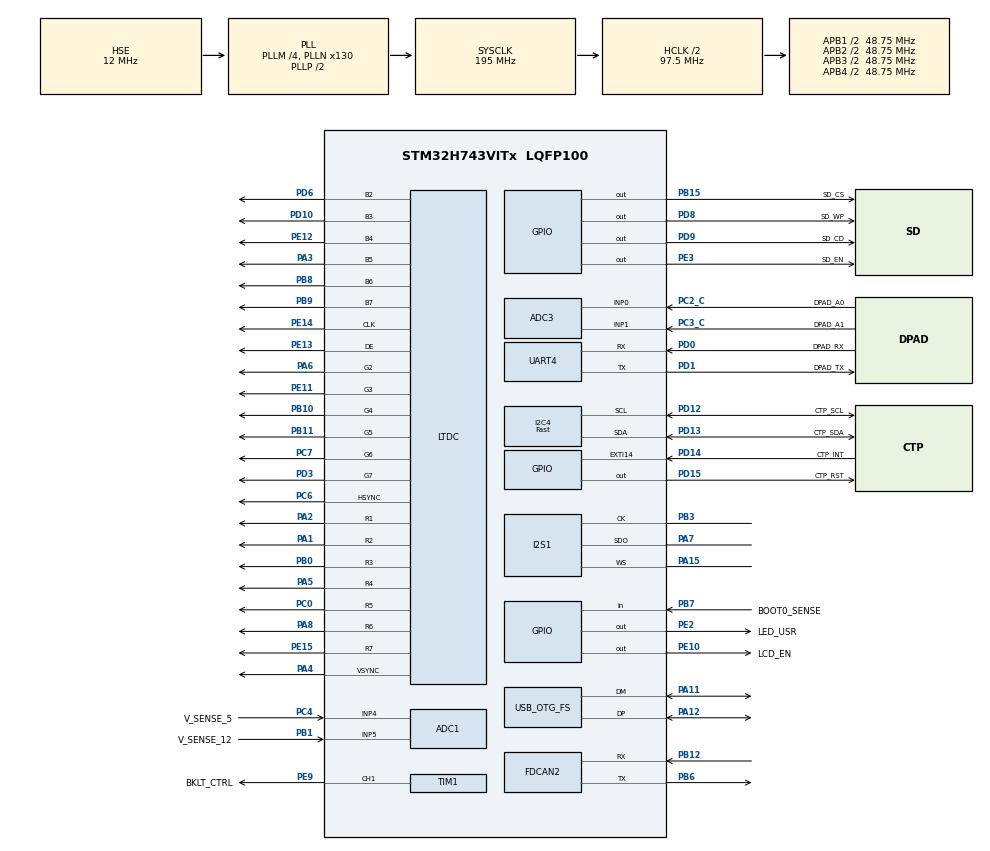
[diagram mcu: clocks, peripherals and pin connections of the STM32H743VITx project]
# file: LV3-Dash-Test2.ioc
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ADC1.Channel-1\#ChannelRegularConversion=ADC_CHANNEL_4
ADC1.NbrOfConversionFlag=1
ADC1.OffsetNumber-1\#ChannelRegularConversion=ADC_OFFSET_NONE
ADC1.OffsetSignedSaturation-1\#ChannelRegularConversion=DISABLE
ADC1.Rank-1\#ChannelRegularConversion=1
ADC1.SamplingTime-1\#ChannelRegularConversion=ADC_SAMPLETIME_1CYCLE_5
ADC1.master=1
ADC3.Channel-0\#ChannelRegularConversion=ADC_CHANNEL_TEMPSENSOR
ADC3.NbrOfConversion=1
ADC3.NbrOfConversionFlag=1
ADC3.OffsetNumber-0\#ChannelRegularConversion=ADC_OFFSET_NONE
ADC3.OffsetSignedSaturation-0\#ChannelRegularConversion=DISABLE
ADC3.Rank-0\#ChannelRegularConversion=1
ADC3.SamplingTime-0\#ChannelRegularConversion=ADC_SAMPLETIME_32CYCLES_5
CORTEX_M7.CPU_DCache=Enabled
CORTEX_M7.CPU_ICache=Enabled
CORTEX_M7.Enable_Spec=__NULL
CORTEX_M7.MPU_Control=__NULL
CORTEX_M7.default_mode_Activation=1
DMA2D.ColorMode=DMA2D_OUTPUT_RGB565
FDCAN2.CalculateBaudRateNominal=250000
FDCAN2.CalculateTimeBitNominal=4000
FDCAN2.CalculateTimeQuantumNominal=250.0
FDCAN2.NominalPrescaler=10
FDCAN2.NominalTimeSeg1=13
FDCAN2.NominalTimeSeg2=2
FDCAN2.RxBuffersNbr=8
FDCAN2.RxFifo0ElmtsNbr=8
FDCAN2.RxFifo1ElmtsNbr=8
FDCAN2.TxBuffersNbr=16
FDCAN2.TxEventsNbr=8
FDCAN2.TxFifoQueueElmtsNbr=16
I2C4.I2C_Speed_Mode=I2C_Fast
I2C4.Speed=300
I2C4.Timing=0x00403A5E
I2S1.ErrorAudioFreq=0.17 %
I2S1.Instance=SPI$Index
I2S1.RealAudioFreq=8.014 KHz
LTDC.ActiveH=272
LTDC.ActiveW=480
LTDC.Alpha0_L0=255
LTDC.Alpha_L0=255
LTDC.Blue_L0=255
LTDC.HBP=40
LTDC.HFP=5
LTDC.ImageHeight_L0=272
LTDC.ImageWidth_L0=480
LTDC.Layers=0
LTDC.PixelFormat_L0=LTDC_PIXEL_FORMAT_RGB565
LTDC.VBP=8
LTDC.VFP=8
LTDC.WindowX1_L0=480
LTDC.WindowY0_L0=0
LTDC.WindowY1_L0=272
Mcu.Family=STM32H7
Mcu.Name=STM32H743VITx
Mcu.Package=LQFP100
NVIC.FDCAN2_IT0_IRQn=true\:0\:0\:false\:false\:true\:true\:true\:true
NVIC.FDCAN2_IT1_IRQn=true\:0\:0\:false\:false\:true\:true\:true\:true
NVIC.FDCAN_CAL_IRQn=true\:0\:0\:false\:false\:true\:true\:true\:true
NVIC.LTDC_ER_IRQn=true\:0\:0\:false\:false\:true\:true\:true\:true
NVIC.LTDC_IRQn=true\:0\:0\:false\:false\:true\:true\:true\:true
NVIC.PriorityGroup=NVIC_PRIORITYGROUP_4
PA1.Mode=RGB666
PA1.Signal=LTDC_R2
PA11.Mode=Host_Only
PA11.Signal=USB_OTG_FS_DM
PA12.Mode=Host_Only
PA12.Signal=USB_OTG_FS_DP
PA13\ (JTMS/SWDIO).Mode=Serial_Wire
PA13\ (JTMS/SWDIO).Signal=DEBUG_JTMS-SWDIO
PA14\ (JTCK/SWCLK).Mode=Serial_Wire
PA14\ (JTCK/SWCLK).Signal=DEBUG_JTCK-SWCLK
PA15\ (JTDI).Mode=Half_Duplex_Master_Tx
PA15\ (JTDI).Signal=I2S1_WS
PA2.Mode=RGB666
PA2.Signal=LTDC_R1
PA3.Mode=RGB666
PA3.Signal=LTDC_B5
PA4.Mode=RGB666
PA4.Signal=LTDC_VSYNC
PA5.Mode=RGB666
PA5.Signal=LTDC_R4
PA6.Mode=RGB666
PA6.Signal=LTDC_G2
PA7.Mode=Half_Duplex_Master_Tx
PA7.Signal=I2S1_SDO
PA8.Mode=RGB666
PA8.Signal=LTDC_R6
PB0.Mode=RGB666
PB0.Signal=LTDC_R3
PB1.GPIO_Label=V_SENSE_12
PB1.Signal=ADCx_INP5
PB10.Mode=RGB666
PB10.Signal=LTDC_G4
PB11.Mode=RGB666
PB11.Signal=LTDC_G5
PB12.Mode=FDCAN_Activate
PB12.Signal=FDCAN2_RX
PB15.GPIO_Label=SD_CS
PB15.Signal=GPIO_Output
PB3\ (JTDO/TRACESWO).Mode=Half_Duplex_Master_Tx
PB3\ (JTDO/TRACESWO).Signal=I2S1_CK
PB6.Mode=FDCAN_Activate
PB6.Signal=FDCAN2_TX
PB7.GPIO_Label=BOOT0_SENSE
PB7.Signal=GPIO_Input
PB8.Mode=RGB666
PB8.Signal=LTDC_B6
PB9.Mode=RGB666
PB9.Signal=LTDC_B7
PC0.Mode=RGB666
PC0.Signal=LTDC_R5
PC2_C.GPIO_Label=DPAD_A0
PC2_C.Mode=IN0-Single-Ended
PC2_C.Signal=ADC3_INP0
PC3_C.GPIO_Label=DPAD_A1
PC3_C.Mode=IN1-Single-Ended
PC3_C.Signal=ADC3_INP1
PC4.GPIO_Label=V_SENSE_5
PC4.Signal=ADCx_INP4
PC6.Mode=RGB666
PC6.Signal=LTDC_HSYNC
PC7.Mode=RGB666
PC7.Signal=LTDC_G6
PD0.GPIO_Label=DPAD_RX
PD0.Mode=Asynchronous
PD0.Signal=UART4_RX
PD1.GPIO_Label=DPAD_TX
PD1.Mode=Asynchronous
PD1.Signal=UART4_TX
PD10.Mode=RGB666
PD10.Signal=LTDC_B3
PD12.GPIO_Label=CTP_SCL
PD12.GPIO_Speed=GPIO_SPEED_FREQ_HIGH
PD12.Mode=I2C
PD12.Signal=I2C4_SCL
PD13.GPIO_Label=CTP_SDA
PD13.GPIO_Speed=GPIO_SPEED_FREQ_HIGH
PD13.Mode=I2C
PD13.Signal=I2C4_SDA
PD14.GPIO_Label=CTP_INT
PD14.GPIO_ModeDefaultEXTI=GPIO_MODE_IT_RISING_FALLING
PD14.Signal=GPXTI14
PD15.GPIO_Label=CTP_RST
PD15.Signal=GPIO_Output
PD3.Mode=RGB666
PD3.Signal=LTDC_G7
PD6.Mode=RGB666
PD6.Signal=LTDC_B2
PD8.GPIO_Label=SD_WP
PD8.Signal=GPIO_Output
PD9.GPIO_Label=SD_CD
PD9.Signal=GPIO_Output
PE10.GPIO_Label=LCD_EN
PE10.PinAttribute=Free
PE10.Signal=GPIO_Output
PE11.Mode=RGB666
PE11.PinAttribute=Free
PE11.Signal=LTDC_G3
PE12.Mode=RGB666
PE12.Signal=LTDC_B4
PE13.Mode=RGB666
PE13.Signal=LTDC_DE
PE14.Mode=RGB666
PE14.Signal=LTDC_CLK
PE15.Mode=RGB666
PE15.Signal=LTDC_R7
PE2.GPIO_Label=LED_USR
PE2.Signal=GPIO_Output
PE3.GPIO_Label=SD_EN
PE3.Signal=GPIO_Output
PE9.GPIO_Label=BKLT_CTRL
PE9.Signal=S_TIM1_CH1
PH0-OSC_IN\ (PH0).Mode=HSE-External-Oscillator
PH0-OSC_IN\ (PH0).Signal=RCC_OSC_IN
PH1-OSC_OUT\ (PH1).Mode=HSE-External-Oscillator
PH1-OSC_OUT\ (PH1).Signal=RCC_OSC_OUT
ProjectManager.HeapSize=0x200
ProjectManager.StackSize=0x400
ProjectManager.TargetToolchain=CMake
RCC.ADCFreq_Value=40000000
RCC.APB1Freq_Value=48750000
RCC.APB2Freq_Value=48750000
RCC.APB3Freq_Value=48750000
RCC.APB4Freq_Value=48750000
RCC.CortexFreq_Value=195000000
RCC.D1PPRE=RCC_APB3_DIV2
RCC.D2PPRE1=RCC_APB1_DIV2
RCC.D2PPRE2=RCC_APB2_DIV2
RCC.D3PPRE=RCC_APB4_DIV2
RCC.DIVM1=4
RCC.DIVM2=6
RCC.DIVM3=8
RCC.DIVN1=130
RCC.DIVN2=80
RCC.DIVN3=192
RCC.DIVP2=4
RCC.DIVQ2=4
RCC.DIVR3=24
RCC.FDCANCLockSelection=RCC_FDCANCLKSOURCE_PLL2
RCC.HCLKFreq_Value=97500000
RCC.HPRE=RCC_HCLK_DIV2
RCC.HSE_VALUE=12000000
RCC.IWDGEnable-ClockTree=true
RCC.LPTIM2Enable-ClockTree=true
RCC.MCO2OutPutEnable-ClockTree=true
RCC.PLL1_VCI_Range-AdvancedSettings=RCC_PLL1VCIRANGE_0
RCC.PLLSourceVirtual=RCC_PLLSOURCE_HSE
RCC.SDMMC1CLockSelection=RCC_SDMMCCLKSOURCE_PLL2
RCC.SDMMC1Enable-ClockTree=true
RCC.SPI123CLockSelection=RCC_SPI123CLKSOURCE_PLL2
RCC.SYSCLKFreq_VALUE=195000000
RCC.SYSCLKSource=RCC_SYSCLKSOURCE_PLLCLK
RCC.USBCLockSelection=RCC_USBCLKSOURCE_HSI48
RCC.USBFreq_Value=48000000
SH.ADCx_INP4.0=ADC1_INP4,IN4-Single-Ended
SH.ADCx_INP5.0=ADC1_INP5,IN5-Single-Ended
SH.S_TIM1_CH1.0=TIM1_CH1,PWM Generation1 CH1
TIM1.Channel-PWM\ Generation1\ CH1=TIM_CHANNEL_1
TIM1.Period=100
TIM1.Prescaler=10000
USB_OTG_FS.VirtualMode=Host_Only
USB_OTG_FS.phy_itface=HCD_PHY_EMBEDDED
VP_ADC3_TempSens_Input.Mode=IN-TempSens
VP_DMA2D_VS_DMA2D.Mode=DMA2D_Activate
VP_MEMORYMAP_VS_MEMORYMAP.Mode=CurAppReg
board=custom

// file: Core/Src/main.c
/* USER CODE BEGIN Header */
/**
 ******************************************************************************
 * @file           : main.c
 * @brief          : Main program body
 ******************************************************************************
 * @attention
 *
 * Copyright (c) 2026 STMicroelectronics.
 * All rights reserved.
 *
 * This software is licensed under terms that can be found in the LICENSE file
 * in the root directory of this software component.
 * If no LICENSE file comes with this software, it is provided AS-IS.
 *
 ******************************************************************************
 */
/* USER CODE END Header */
#include "main.h"

/* USER CODE BEGIN Includes */

#include "FT5206.h"
#include "LV3_CAN.h"
#include "actions.h"
#include "demos/music/lv_demo_music.h"
#include "demos/widgets/lv_demo_widgets.h"
#include "lv_demos.h"
#include "lvgl.h"
#include "screens.h"
#include "stm32h7xx_hal.h"
#include "stm32h7xx_hal_gpio.h"
#include "stm32h7xx_hal_ltdc.h"
#include "ui.h"
#include <src/display/lv_display.h>
#include <src/drivers/display/st_ltdc/lv_st_ltdc.h>
#include <src/lv_api_map_v8.h>
#include <src/widgets/led/lv_led.h>
#include <src/widgets/list/lv_list.h>
#include <src/widgets/slider/lv_slider.h>
#include <stdint.h>
#include <stdio.h>
#include <string.h>
#include <sys/_types.h>

/* USER CODE END Includes */

/* USER CODE BEGIN PD */

#define SCREEN_FADE_ON_TIME 500

/* USER CODE END PD */

ADC_HandleTypeDef hadc1;
ADC_HandleTypeDef hadc3;

DMA2D_HandleTypeDef hdma2d;

FDCAN_HandleTypeDef hfdcan2;

I2C_HandleTypeDef hi2c4;

I2S_HandleTypeDef hi2s1;

LTDC_HandleTypeDef hltdc;

TIM_HandleTypeDef htim1;

UART_HandleTypeDef huart4;

HCD_HandleTypeDef hhcd_USB_OTG_FS;

/* USER CODE BEGIN PV */

#define DISP_WIDTH 480
#define DISP_HEIGHT 272
#define FRAME_SIZE                                                             \
  (DISP_WIDTH * DISP_HEIGHT * 2) // 2 bytes per pixel for RGB565
uint8_t ltdc_framebuffer[FRAME_SIZE] __attribute__((section(".ram_d1")));
// uint8_t ltdc_framebuffer2[FRAME_SIZE] __attribute__((section(".ram_d1")))
// __attribute__((aligned(32)));

uint8_t lvgl_draw_buffer_1[FRAME_SIZE / 2] __attribute__((section(".ram_d1")));
uint8_t lvgl_draw_buffer_2[FRAME_SIZE / 2] __attribute__((section(".ram_d1")));

unsigned int main_loop_start_timestamp = 0;

/* USER CODE END PV */

void SystemClock_Config(void);
void PeriphCommonClock_Config(void);
static void MX_GPIO_Init(void);
static void MX_I2S1_Init(void);
static void MX_LTDC_Init(void);
static void MX_USB_OTG_FS_HCD_Init(void);
static void MX_ADC3_Init(void);
static void MX_ADC1_Init(void);
static void MX_I2C4_Init(void);
static void MX_TIM1_Init(void);
static void MX_UART4_Init(void);
static void MX_FDCAN2_Init(void);
static void MX_DMA2D_Init(void);

/* USER CODE BEGIN 0 */

void action_action1(lv_event_t *e) {
  // Switch to screen "Other" with animation
  lv_scr_load_anim(objects.other, LV_SCREEN_LOAD_ANIM_OVER_LEFT, 150, 0, false);
  lv_anim_t *a = lv_anim_get(objects.other, NULL);
  if (a) {
    lv_anim_set_path_cb(a, lv_anim_path_ease_out);
  }
}

void action_action2(lv_event_t *e) {
  // Switch to screen "Main" with animation
  lv_scr_load_anim(objects.main, LV_SCREEN_LOAD_ANIM_OUT_RIGHT, 150, 0, false);
  lv_anim_t *a = lv_anim_get(objects.main, NULL);
  if (a) {
    lv_anim_set_path_cb(a, lv_anim_path_ease_out);
  }
}

static void anim_delete_cb(lv_anim_t *a) { lv_obj_delete(a->var); }

void show_top_notification(const char *text) {
  lv_obj_t *notif = lv_obj_create(lv_layer_top());
  lv_obj_add_flag(notif, LV_OBJ_FLAG_FLOATING);

  lv_obj_set_size(notif, lv_pct(100), 50);
  lv_obj_set_y(notif, -60);
  lv_obj_set_style_bg_color(notif, lv_color_hex(0x222222), 0);
  lv_obj_set_style_text_color(notif, lv_color_white(), 0);
  lv_obj_set_style_radius(notif, 0, 0);
  lv_obj_set_style_border_side(notif, LV_BORDER_SIDE_BOTTOM, 0);
  lv_obj_set_style_border_width(notif, 2, 0);
  lv_obj_set_style_border_color(notif, lv_color_hex(0x888888), 0);
  lv_obj_set_style_pad_all(notif, 0, 0);
  lv_obj_set_scrollbar_mode(notif, LV_SCROLLBAR_MODE_OFF);

  lv_obj_t *label = lv_label_create(notif);
  lv_label_set_text(label, text);
  lv_obj_center(label);

  lv_anim_t a;

  lv_anim_init(&a);
  lv_anim_set_var(&a, notif);
  lv_anim_set_exec_cb(&a, (lv_anim_exec_xcb_t)lv_obj_set_y);
  lv_anim_set_path_cb(&a, lv_anim_path_ease_out);
  lv_anim_set_duration(&a, 500);
  lv_anim_set_values(&a, -60, 0);
  lv_anim_start(&a);

  lv_anim_set_path_cb(&a, lv_anim_path_ease_in);
  lv_anim_set_delay(&a, 3500);
  lv_anim_set_values(&a, 0, -60);
  lv_anim_set_deleted_cb(&a, anim_delete_cb);
  lv_anim_start(&a);
}

void action_prompt_action(lv_event_t *e) {
  // Show a prompt message box
  char buf[64];
  sprintf(buf, "Current time: %d ms", HAL_GetTick());
  show_top_notification(buf);
}

uint32_t main_switch = 0;

const LV3_CAN_Binding lv3_can_bindings[] = {
    {&main_switch, SW_HV_MAIN, LV3_CAN_BindMode_Read}};

/* USER CODE END 0 */

int main(void) {

  /* Enable the CPU Cache */

  /* Enable I-Cache---------------------------------------------------------*/
  SCB_EnableICache();

  /* Enable D-Cache---------------------------------------------------------*/
  SCB_EnableDCache();

  /* MCU Configuration--------------------------------------------------------*/

  /* Reset of all peripherals, Initializes the Flash interface and the Systick.
   */
  HAL_Init();

  /* Configure the system clock */
  SystemClock_Config();

  /* Configure the peripherals common clocks */
  PeriphCommonClock_Config();

  /* Initialize all configured peripherals */
  MX_GPIO_Init();
  MX_I2S1_Init();
  MX_LTDC_Init();
  MX_USB_OTG_FS_HCD_Init();
  MX_ADC3_Init();
  MX_ADC1_Init();
  MX_I2C4_Init();
  MX_TIM1_Init();
  MX_UART4_Init();
  MX_FDCAN2_Init();
  MX_DMA2D_Init();
  /* USER CODE BEGIN 2 */

  // clear framebuffer
  memset(ltdc_framebuffer, 0, FRAME_SIZE);

  // Set the LTDC framebuffer address
  HAL_LTDC_SetAddress(&hltdc, (uint32_t)ltdc_framebuffer, 0);

  // Set backlight timer duty cycle to 25%
  // __HAL_TIM_SET_COMPARE(&htim1, TIM_CHANNEL_1, 25);
  // Enable backlight control timer
  HAL_TIM_PWM_Start(&htim1, TIM_CHANNEL_1);

  lv_init();
  lv_tick_set_cb(HAL_GetTick);

  lv_disp_t *disp = lv_st_ltdc_create_partial(
      lvgl_draw_buffer_1, lvgl_draw_buffer_2, FRAME_SIZE / 2, 0);

  // lv_disp_t *disp =
  //     lv_st_ltdc_create_direct(ltdc_framebuffer, ltdc_framebuffer2, 0);

  lv_disp_set_rotation(disp, LV_DISP_ROTATION_180);

  FT5206_Init();
  lv_indev_t *indev_touch = lv_indev_create();
  lv_indev_set_type(indev_touch, LV_INDEV_TYPE_POINTER);
  lv_indev_set_read_cb(indev_touch, FT5206_Read);

  // lv_demo_widgets();
  ui_init();

  int last_slider_val = 0;

  lv_obj_t *some_label = lv_list_add_text(objects.params_list, "hello");
  lv_obj_t *some_slider =
      lv_list_add_button(objects.params_list, NULL, "something");

  LV3_CAN_Init(98, LV3_CAN_BusMode_Normal, lv3_can_bindings,
               sizeof(lv3_can_bindings) / sizeof(LV3_CAN_Binding));

  main_loop_start_timestamp = HAL_GetTick();
  uint32_t backlight_duty_cycle = 0;

  /* USER CODE END 2 */

  /* Infinite loop */
  while (1) {

    /* USER CODE BEGIN 3 */
    int slider_val = lv_slider_get_value(objects.brightness_slider);
    if (slider_val != last_slider_val) {
      last_slider_val = slider_val;
      // gamma correction for perceived brightness
      float normalized_val = slider_val / 100.0f;
      float gamma_corrected_val = normalized_val * normalized_val;
      backlight_duty_cycle = (uint32_t)(gamma_corrected_val * 100);
    }
    if (HAL_GetTick() - main_loop_start_timestamp < SCREEN_FADE_ON_TIME) {
      __HAL_TIM_SET_COMPARE(&htim1, TIM_CHANNEL_1,
                            backlight_duty_cycle *
                                (HAL_GetTick() - main_loop_start_timestamp) /
                                SCREEN_FADE_ON_TIME);
    } else {
      __HAL_TIM_SET_COMPARE(&htim1, TIM_CHANNEL_1, backlight_duty_cycle);
    }
    lv_led_set_brightness(objects.main_switch_led_element,
                          main_switch ? 255 : 0);
    HAL_GPIO_WritePin(LED_USR_GPIO_Port, LED_USR_Pin,
                      main_switch ? GPIO_PIN_SET : GPIO_PIN_RESET);
    lv_timer_handler();
    LV3_CAN_Loop();
    // HAL_Delay(2);
  }
  /* USER CODE END 3 */
}

void SystemClock_Config(void) {
  RCC_OscInitTypeDef RCC_OscInitStruct = {0};
  RCC_ClkInitTypeDef RCC_ClkInitStruct = {0};

  /** Supply configuration update enable
   */
  HAL_PWREx_ConfigSupply(PWR_LDO_SUPPLY);

  /** Configure the main internal regulator output voltage
   */
  __HAL_PWR_VOLTAGESCALING_CONFIG(PWR_REGULATOR_VOLTAGE_SCALE3);

  while (!__HAL_PWR_GET_FLAG(PWR_FLAG_VOSRDY)) {
  }

  /** Initializes the RCC Oscillators according to the specified parameters
   * in the RCC_OscInitTypeDef structure.
   */
  RCC_OscInitStruct.OscillatorType =
      RCC_OSCILLATORTYPE_HSI48 | RCC_OSCILLATORTYPE_HSE;
  RCC_OscInitStruct.HSEState = RCC_HSE_ON;
  RCC_OscInitStruct.HSI48State = RCC_HSI48_ON;
  RCC_OscInitStruct.PLL.PLLState = RCC_PLL_ON;
  RCC_OscInitStruct.PLL.PLLSource = RCC_PLLSOURCE_HSE;
  RCC_OscInitStruct.PLL.PLLM = 4;
  RCC_OscInitStruct.PLL.PLLN = 130;
  RCC_OscInitStruct.PLL.PLLP = 2;
  RCC_OscInitStruct.PLL.PLLQ = 2;
  RCC_OscInitStruct.PLL.PLLR = 2;
  RCC_OscInitStruct.PLL.PLLRGE = RCC_PLL1VCIRANGE_1;
  RCC_OscInitStruct.PLL.PLLVCOSEL = RCC_PLL1VCOWIDE;
  RCC_OscInitStruct.PLL.PLLFRACN = 0;
  if (HAL_RCC_OscConfig(&RCC_OscInitStruct) != HAL_OK) {
    Error_Handler();
  }

  /** Initializes the CPU, AHB and APB buses clocks
   */
  RCC_ClkInitStruct.ClockType = RCC_CLOCKTYPE_HCLK | RCC_CLOCKTYPE_SYSCLK |
                                RCC_CLOCKTYPE_PCLK1 | RCC_CLOCKTYPE_PCLK2 |
                                RCC_CLOCKTYPE_D3PCLK1 | RCC_CLOCKTYPE_D1PCLK1;
  RCC_ClkInitStruct.SYSCLKSource = RCC_SYSCLKSOURCE_PLLCLK;
  RCC_ClkInitStruct.SYSCLKDivider = RCC_SYSCLK_DIV1;
  RCC_ClkInitStruct.AHBCLKDivider = RCC_HCLK_DIV2;
  RCC_ClkInitStruct.APB3CLKDivider = RCC_APB3_DIV2;
  RCC_ClkInitStruct.APB1CLKDivider = RCC_APB1_DIV2;
  RCC_ClkInitStruct.APB2CLKDivider = RCC_APB2_DIV2;
  RCC_ClkInitStruct.APB4CLKDivider = RCC_APB4_DIV2;

  if (HAL_RCC_ClockConfig(&RCC_ClkInitStruct, FLASH_LATENCY_2) != HAL_OK) {
    Error_Handler();
  }
}

void PeriphCommonClock_Config(void) {
  RCC_PeriphCLKInitTypeDef PeriphClkInitStruct = {0};

  /** Initializes the peripherals clock
   */
  PeriphClkInitStruct.PeriphClockSelection =
      RCC_PERIPHCLK_ADC | RCC_PERIPHCLK_SPI1 | RCC_PERIPHCLK_FDCAN;
  PeriphClkInitStruct.PLL2.PLL2M = 6;
  PeriphClkInitStruct.PLL2.PLL2N = 80;
  PeriphClkInitStruct.PLL2.PLL2P = 4;
  PeriphClkInitStruct.PLL2.PLL2Q = 4;
  PeriphClkInitStruct.PLL2.PLL2R = 2;
  PeriphClkInitStruct.PLL2.PLL2RGE = RCC_PLL2VCIRANGE_1;
  PeriphClkInitStruct.PLL2.PLL2VCOSEL = RCC_PLL2VCOMEDIUM;
  PeriphClkInitStruct.PLL2.PLL2FRACN = 0;
  PeriphClkInitStruct.Spi123ClockSelection = RCC_SPI123CLKSOURCE_PLL2;
  PeriphClkInitStruct.FdcanClockSelection = RCC_FDCANCLKSOURCE_PLL2;
  PeriphClkInitStruct.AdcClockSelection = RCC_ADCCLKSOURCE_PLL2;
  if (HAL_RCCEx_PeriphCLKConfig(&PeriphClkInitStruct) != HAL_OK) {
    Error_Handler();
  }
}

static void MX_ADC1_Init(void) {

  ADC_MultiModeTypeDef multimode = {0};
  ADC_ChannelConfTypeDef sConfig = {0};

  /** Common config
   */
  hadc1.Instance = ADC1;
  hadc1.Init.ClockPrescaler = ADC_CLOCK_ASYNC_DIV2;
  hadc1.Init.Resolution = ADC_RESOLUTION_16B;
  hadc1.Init.ScanConvMode = ADC_SCAN_DISABLE;
  hadc1.Init.EOCSelection = ADC_EOC_SINGLE_CONV;
  hadc1.Init.LowPowerAutoWait = DISABLE;
  hadc1.Init.ContinuousConvMode = DISABLE;
  hadc1.Init.NbrOfConversion = 1;
  hadc1.Init.DiscontinuousConvMode = DISABLE;
  hadc1.Init.ExternalTrigConv = ADC_SOFTWARE_START;
  hadc1.Init.ExternalTrigConvEdge = ADC_EXTERNALTRIGCONVEDGE_NONE;
  hadc1.Init.ConversionDataManagement = ADC_CONVERSIONDATA_DR;
  hadc1.Init.Overrun = ADC_OVR_DATA_PRESERVED;
  hadc1.Init.LeftBitShift = ADC_LEFTBITSHIFT_NONE;
  hadc1.Init.OversamplingMode = DISABLE;
  hadc1.Init.Oversampling.Ratio = 1;
  if (HAL_ADC_Init(&hadc1) != HAL_OK) {
    Error_Handler();
  }

  /** Configure the ADC multi-mode
   */
  multimode.Mode = ADC_MODE_INDEPENDENT;
  if (HAL_ADCEx_MultiModeConfigChannel(&hadc1, &multimode) != HAL_OK) {
    Error_Handler();
  }

  /** Configure Regular Channel
   */
  sConfig.Channel = ADC_CHANNEL_4;
  sConfig.Rank = ADC_REGULAR_RANK_1;
  sConfig.SamplingTime = ADC_SAMPLETIME_1CYCLE_5;
  sConfig.SingleDiff = ADC_SINGLE_ENDED;
  sConfig.OffsetNumber = ADC_OFFSET_NONE;
  sConfig.Offset = 0;
  sConfig.OffsetSignedSaturation = DISABLE;
  if (HAL_ADC_ConfigChannel(&hadc1, &sConfig) != HAL_OK) {
    Error_Handler();
  }
}

static void MX_ADC3_Init(void) {

  ADC_ChannelConfTypeDef sConfig = {0};

  /** Common config
   */
  hadc3.Instance = ADC3;
  hadc3.Init.Resolution = ADC_RESOLUTION_16B;
  hadc3.Init.ScanConvMode = ADC_SCAN_DISABLE;
  hadc3.Init.EOCSelection = ADC_EOC_SINGLE_CONV;
  hadc3.Init.LowPowerAutoWait = DISABLE;
  hadc3.Init.ContinuousConvMode = DISABLE;
  hadc3.Init.NbrOfConversion = 1;
  hadc3.Init.DiscontinuousConvMode = DISABLE;
  hadc3.Init.ExternalTrigConv = ADC_SOFTWARE_START;
  hadc3.Init.ExternalTrigConvEdge = ADC_EXTERNALTRIGCONVEDGE_NONE;
  hadc3.Init.ConversionDataManagement = ADC_CONVERSIONDATA_DR;
  hadc3.Init.Overrun = ADC_OVR_DATA_PRESERVED;
  hadc3.Init.LeftBitShift = ADC_LEFTBITSHIFT_NONE;
  hadc3.Init.OversamplingMode = DISABLE;
  hadc3.Init.Oversampling.Ratio = 1;
  if (HAL_ADC_Init(&hadc3) != HAL_OK) {
    Error_Handler();
  }

  /** Configure Regular Channel
   */
  sConfig.Channel = ADC_CHANNEL_TEMPSENSOR;
  sConfig.Rank = ADC_REGULAR_RANK_1;
  sConfig.SamplingTime = ADC_SAMPLETIME_32CYCLES_5;
  sConfig.SingleDiff = ADC_SINGLE_ENDED;
  sConfig.OffsetNumber = ADC_OFFSET_NONE;
  sConfig.Offset = 0;
  sConfig.OffsetSignedSaturation = DISABLE;
  if (HAL_ADC_ConfigChannel(&hadc3, &sConfig) != HAL_OK) {
    Error_Handler();
  }
}

static void MX_DMA2D_Init(void) {

  hdma2d.Instance = DMA2D;
  hdma2d.Init.Mode = DMA2D_M2M;
  hdma2d.Init.ColorMode = DMA2D_OUTPUT_RGB565;
  hdma2d.Init.OutputOffset = 0;
  hdma2d.LayerCfg[1].InputOffset = 0;
  hdma2d.LayerCfg[1].InputColorMode = DMA2D_INPUT_RGB565;
  hdma2d.LayerCfg[1].AlphaMode = DMA2D_NO_MODIF_ALPHA;
  hdma2d.LayerCfg[1].InputAlpha = 0;
  hdma2d.LayerCfg[1].AlphaInverted = DMA2D_REGULAR_ALPHA;
  hdma2d.LayerCfg[1].RedBlueSwap = DMA2D_RB_REGULAR;
  hdma2d.LayerCfg[1].ChromaSubSampling = DMA2D_NO_CSS;
  if (HAL_DMA2D_Init(&hdma2d) != HAL_OK) {
    Error_Handler();
  }
  if (HAL_DMA2D_ConfigLayer(&hdma2d, 1) != HAL_OK) {
    Error_Handler();
  }
}

static void MX_FDCAN2_Init(void) {

  hfdcan2.Instance = FDCAN2;
  hfdcan2.Init.FrameFormat = FDCAN_FRAME_CLASSIC;
  hfdcan2.Init.Mode = FDCAN_MODE_NORMAL;
  hfdcan2.Init.AutoRetransmission = DISABLE;
  hfdcan2.Init.TransmitPause = DISABLE;
  hfdcan2.Init.ProtocolException = DISABLE;
  hfdcan2.Init.NominalPrescaler = 10;
  hfdcan2.Init.NominalSyncJumpWidth = 1;
  hfdcan2.Init.NominalTimeSeg1 = 13;
  hfdcan2.Init.NominalTimeSeg2 = 2;
  hfdcan2.Init.DataPrescaler = 1;
  hfdcan2.Init.DataSyncJumpWidth = 1;
  hfdcan2.Init.DataTimeSeg1 = 1;
  hfdcan2.Init.DataTimeSeg2 = 1;
  hfdcan2.Init.MessageRAMOffset = 0;
  hfdcan2.Init.StdFiltersNbr = 0;
  hfdcan2.Init.ExtFiltersNbr = 0;
  hfdcan2.Init.RxFifo0ElmtsNbr = 8;
  hfdcan2.Init.RxFifo0ElmtSize = FDCAN_DATA_BYTES_8;
  hfdcan2.Init.RxFifo1ElmtsNbr = 8;
  hfdcan2.Init.RxFifo1ElmtSize = FDCAN_DATA_BYTES_8;
  hfdcan2.Init.RxBuffersNbr = 8;
  hfdcan2.Init.RxBufferSize = FDCAN_DATA_BYTES_8;
  hfdcan2.Init.TxEventsNbr = 8;
  hfdcan2.Init.TxBuffersNbr = 16;
  hfdcan2.Init.TxFifoQueueElmtsNbr = 16;
  hfdcan2.Init.TxFifoQueueMode = FDCAN_TX_FIFO_OPERATION;
  hfdcan2.Init.TxElmtSize = FDCAN_DATA_BYTES_8;
  if (HAL_FDCAN_Init(&hfdcan2) != HAL_OK) {
    Error_Handler();
  }
}

static void MX_I2C4_Init(void) {

  hi2c4.Instance = I2C4;
  hi2c4.Init.Timing = 0x00403A5E;
  hi2c4.Init.OwnAddress1 = 0;
  hi2c4.Init.AddressingMode = I2C_ADDRESSINGMODE_7BIT;
  hi2c4.Init.DualAddressMode = I2C_DUALADDRESS_DISABLE;
  hi2c4.Init.OwnAddress2 = 0;
  hi2c4.Init.OwnAddress2Masks = I2C_OA2_NOMASK;
  hi2c4.Init.GeneralCallMode = I2C_GENERALCALL_DISABLE;
  hi2c4.Init.NoStretchMode = I2C_NOSTRETCH_DISABLE;
  if (HAL_I2C_Init(&hi2c4) != HAL_OK) {
    Error_Handler();
  }

  /** Configure Analogue filter
   */
  if (HAL_I2CEx_ConfigAnalogFilter(&hi2c4, I2C_ANALOGFILTER_ENABLE) != HAL_OK) {
    Error_Handler();
  }

  /** Configure Digital filter
   */
  if (HAL_I2CEx_ConfigDigitalFilter(&hi2c4, 0) != HAL_OK) {
    Error_Handler();
  }
}

static void MX_I2S1_Init(void) {

  hi2s1.Instance = SPI1;
  hi2s1.Init.Mode = I2S_MODE_MASTER_TX;
  hi2s1.Init.Standard = I2S_STANDARD_PHILIPS;
  hi2s1.Init.DataFormat = I2S_DATAFORMAT_16B;
  hi2s1.Init.MCLKOutput = I2S_MCLKOUTPUT_DISABLE;
  hi2s1.Init.AudioFreq = I2S_AUDIOFREQ_8K;
  hi2s1.Init.CPOL = I2S_CPOL_LOW;
  hi2s1.Init.FirstBit = I2S_FIRSTBIT_MSB;
  hi2s1.Init.WSInversion = I2S_WS_INVERSION_DISABLE;
  hi2s1.Init.Data24BitAlignment = I2S_DATA_24BIT_ALIGNMENT_RIGHT;
  hi2s1.Init.MasterKeepIOState = I2S_MASTER_KEEP_IO_STATE_DISABLE;
  if (HAL_I2S_Init(&hi2s1) != HAL_OK) {
    Error_Handler();
  }
}

static void MX_LTDC_Init(void) {

  LTDC_LayerCfgTypeDef pLayerCfg = {0};

  hltdc.Instance = LTDC;
  hltdc.Init.HSPolarity = LTDC_HSPOLARITY_AL;
  hltdc.Init.VSPolarity = LTDC_VSPOLARITY_AL;
  hltdc.Init.DEPolarity = LTDC_DEPOLARITY_AL;
  hltdc.Init.PCPolarity = LTDC_PCPOLARITY_IPC;
  hltdc.Init.HorizontalSync = 7;
  hltdc.Init.VerticalSync = 3;
  hltdc.Init.AccumulatedHBP = 47;
  hltdc.Init.AccumulatedVBP = 11;
  hltdc.Init.AccumulatedActiveW = 527;
  hltdc.Init.AccumulatedActiveH = 283;
  hltdc.Init.TotalWidth = 532;
  hltdc.Init.TotalHeigh = 291;
  hltdc.Init.Backcolor.Blue = 0;
  hltdc.Init.Backcolor.Green = 0;
  hltdc.Init.Backcolor.Red = 0;
  if (HAL_LTDC_Init(&hltdc) != HAL_OK) {
    Error_Handler();
  }
  pLayerCfg.WindowX0 = 0;
  pLayerCfg.WindowX1 = 480;
  pLayerCfg.WindowY0 = 0;
  pLayerCfg.WindowY1 = 272;
  pLayerCfg.PixelFormat = LTDC_PIXEL_FORMAT_RGB565;
  pLayerCfg.Alpha = 255;
  pLayerCfg.Alpha0 = 255;
  pLayerCfg.BlendingFactor1 = LTDC_BLENDING_FACTOR1_CA;
  pLayerCfg.BlendingFactor2 = LTDC_BLENDING_FACTOR2_CA;
  pLayerCfg.FBStartAdress = 0;
  pLayerCfg.ImageWidth = 480;
  pLayerCfg.ImageHeight = 272;
  pLayerCfg.Backcolor.Blue = 255;
  pLayerCfg.Backcolor.Green = 0;
  pLayerCfg.Backcolor.Red = 0;
  if (HAL_LTDC_ConfigLayer(&hltdc, &pLayerCfg, 0) != HAL_OK) {
    Error_Handler();
  }
}

static void MX_TIM1_Init(void) {

  TIM_MasterConfigTypeDef sMasterConfig = {0};
  TIM_OC_InitTypeDef sConfigOC = {0};
  TIM_BreakDeadTimeConfigTypeDef sBreakDeadTimeConfig = {0};

  htim1.Instance = TIM1;
  htim1.Init.Prescaler = 10000;
  htim1.Init.CounterMode = TIM_COUNTERMODE_UP;
  htim1.Init.Period = 100;
  htim1.Init.ClockDivision = TIM_CLOCKDIVISION_DIV1;
  htim1.Init.RepetitionCounter = 0;
  htim1.Init.AutoReloadPreload = TIM_AUTORELOAD_PRELOAD_DISABLE;
  if (HAL_TIM_PWM_Init(&htim1) != HAL_OK) {
    Error_Handler();
  }
  sMasterConfig.MasterOutputTrigger = TIM_TRGO_RESET;
  sMasterConfig.MasterOutputTrigger2 = TIM_TRGO2_RESET;
  sMasterConfig.MasterSlaveMode = TIM_MASTERSLAVEMODE_DISABLE;
  if (HAL_TIMEx_MasterConfigSynchronization(&htim1, &sMasterConfig) != HAL_OK) {
    Error_Handler();
  }
  sConfigOC.OCMode = TIM_OCMODE_PWM1;
  sConfigOC.Pulse = 0;
  sConfigOC.OCPolarity = TIM_OCPOLARITY_HIGH;
  sConfigOC.OCNPolarity = TIM_OCNPOLARITY_HIGH;
  sConfigOC.OCFastMode = TIM_OCFAST_DISABLE;
  sConfigOC.OCIdleState = TIM_OCIDLESTATE_RESET;
  sConfigOC.OCNIdleState = TIM_OCNIDLESTATE_RESET;
  if (HAL_TIM_PWM_ConfigChannel(&htim1, &sConfigOC, TIM_CHANNEL_1) != HAL_OK) {
    Error_Handler();
  }
  sBreakDeadTimeConfig.OffStateRunMode = TIM_OSSR_DISABLE;
  sBreakDeadTimeConfig.OffStateIDLEMode = TIM_OSSI_DISABLE;
  sBreakDeadTimeConfig.LockLevel = TIM_LOCKLEVEL_OFF;
  sBreakDeadTimeConfig.DeadTime = 0;
  sBreakDeadTimeConfig.BreakState = TIM_BREAK_DISABLE;
  sBreakDeadTimeConfig.BreakPolarity = TIM_BREAKPOLARITY_HIGH;
  sBreakDeadTimeConfig.BreakFilter = 0;
  sBreakDeadTimeConfig.Break2State = TIM_BREAK2_DISABLE;
  sBreakDeadTimeConfig.Break2Polarity = TIM_BREAK2POLARITY_HIGH;
  sBreakDeadTimeConfig.Break2Filter = 0;
  sBreakDeadTimeConfig.AutomaticOutput = TIM_AUTOMATICOUTPUT_DISABLE;
  if (HAL_TIMEx_ConfigBreakDeadTime(&htim1, &sBreakDeadTimeConfig) != HAL_OK) {
    Error_Handler();
  }
  HAL_TIM_MspPostInit(&htim1);
}

static void MX_UART4_Init(void) {

  huart4.Instance = UART4;
  huart4.Init.BaudRate = 115200;
  huart4.Init.WordLength = UART_WORDLENGTH_8B;
  huart4.Init.StopBits = UART_STOPBITS_1;
  huart4.Init.Parity = UART_PARITY_NONE;
  huart4.Init.Mode = UART_MODE_TX_RX;
  huart4.Init.HwFlowCtl = UART_HWCONTROL_NONE;
  huart4.Init.OverSampling = UART_OVERSAMPLING_16;
  huart4.Init.OneBitSampling = UART_ONE_BIT_SAMPLE_DISABLE;
  huart4.Init.ClockPrescaler = UART_PRESCALER_DIV1;
  huart4.AdvancedInit.AdvFeatureInit = UART_ADVFEATURE_NO_INIT;
  if (HAL_UART_Init(&huart4) != HAL_OK) {
    Error_Handler();
  }
  if (HAL_UARTEx_SetTxFifoThreshold(&huart4, UART_TXFIFO_THRESHOLD_1_8) !=
      HAL_OK) {
    Error_Handler();
  }
  if (HAL_UARTEx_SetRxFifoThreshold(&huart4, UART_RXFIFO_THRESHOLD_1_8) !=
      HAL_OK) {
    Error_Handler();
  }
  if (HAL_UARTEx_DisableFifoMode(&huart4) != HAL_OK) {
    Error_Handler();
  }
}

static void MX_USB_OTG_FS_HCD_Init(void) {

  hhcd_USB_OTG_FS.Instance = USB_OTG_FS;
  hhcd_USB_OTG_FS.Init.Host_channels = 16;
  hhcd_USB_OTG_FS.Init.speed = HCD_SPEED_FULL;
  hhcd_USB_OTG_FS.Init.dma_enable = DISABLE;
  hhcd_USB_OTG_FS.Init.phy_itface = HCD_PHY_EMBEDDED;
  hhcd_USB_OTG_FS.Init.Sof_enable = DISABLE;
  if (HAL_HCD_Init(&hhcd_USB_OTG_FS) != HAL_OK) {
    Error_Handler();
  }
}

static void MX_GPIO_Init(void) {
  GPIO_InitTypeDef GPIO_InitStruct = {0};

  /* GPIO Ports Clock Enable */
  __HAL_RCC_GPIOE_CLK_ENABLE();
  __HAL_RCC_GPIOH_CLK_ENABLE();
  __HAL_RCC_GPIOC_CLK_ENABLE();
  __HAL_RCC_GPIOA_CLK_ENABLE();
  __HAL_RCC_GPIOB_CLK_ENABLE();
  __HAL_RCC_GPIOD_CLK_ENABLE();

  /*Configure GPIO pin Output Level */
  HAL_GPIO_WritePin(GPIOE, LED_USR_Pin | SD_EN_Pin | LCD_EN_Pin,
                    GPIO_PIN_RESET);

  /*Configure GPIO pin Output Level */
  HAL_GPIO_WritePin(SD_CS_GPIO_Port, SD_CS_Pin, GPIO_PIN_RESET);

  /*Configure GPIO pin Output Level */
  HAL_GPIO_WritePin(GPIOD, SD_WP_Pin | SD_CD_Pin | CTP_RST_Pin, GPIO_PIN_RESET);

  /*Configure GPIO pins : LED_USR_Pin SD_EN_Pin LCD_EN_Pin */
  GPIO_InitStruct.Pin = LED_USR_Pin | SD_EN_Pin | LCD_EN_Pin;
  GPIO_InitStruct.Mode = GPIO_MODE_OUTPUT_PP;
  GPIO_InitStruct.Pull = GPIO_NOPULL;
  GPIO_InitStruct.Speed = GPIO_SPEED_FREQ_LOW;
  HAL_GPIO_Init(GPIOE, &GPIO_InitStruct);

  /*Configure GPIO pin : SD_CS_Pin */
  GPIO_InitStruct.Pin = SD_CS_Pin;
  GPIO_InitStruct.Mode = GPIO_MODE_OUTPUT_PP;
  GPIO_InitStruct.Pull = GPIO_NOPULL;
  GPIO_InitStruct.Speed = GPIO_SPEED_FREQ_LOW;
  HAL_GPIO_Init(SD_CS_GPIO_Port, &GPIO_InitStruct);

  /*Configure GPIO pins : SD_WP_Pin SD_CD_Pin CTP_RST_Pin */
  GPIO_InitStruct.Pin = SD_WP_Pin | SD_CD_Pin | CTP_RST_Pin;
  GPIO_InitStruct.Mode = GPIO_MODE_OUTPUT_PP;
  GPIO_InitStruct.Pull = GPIO_NOPULL;
  GPIO_InitStruct.Speed = GPIO_SPEED_FREQ_LOW;
  HAL_GPIO_Init(GPIOD, &GPIO_InitStruct);

  /*Configure GPIO pin : CTP_INT_Pin */
  GPIO_InitStruct.Pin = CTP_INT_Pin;
  GPIO_InitStruct.Mode = GPIO_MODE_IT_RISING_FALLING;
  GPIO_InitStruct.Pull = GPIO_NOPULL;
  HAL_GPIO_Init(CTP_INT_GPIO_Port, &GPIO_InitStruct);

  /*Configure GPIO pin : BOOT0_SENSE_Pin */
  GPIO_InitStruct.Pin = BOOT0_SENSE_Pin;
  GPIO_InitStruct.Mode = GPIO_MODE_INPUT;
  GPIO_InitStruct.Pull = GPIO_NOPULL;
  HAL_GPIO_Init(BOOT0_SENSE_GPIO_Port, &GPIO_InitStruct);

}

void Error_Handler(void) {
  __disable_irq();
  while (1) {
  }
}
#ifdef USE_FULL_ASSERT
/**
 * @brief  Reports the name of the source file and the source line number
 *         where the assert_param error has occurred.
 * @param  file: pointer to the source file name
 * @param  line: assert_param error line source number
 * @retval None
 */
void assert_failed(uint8_t *file, uint32_t line) {
  /* USER CODE BEGIN 6 */
  /* User can add his own implementation to report the file name and line
     number, ex: printf("Wrong parameters value: file %s on line %d\r\n", file,
     line) */
  /* USER CODE END 6 */
}
#endif /* USE_FULL_ASSERT */
